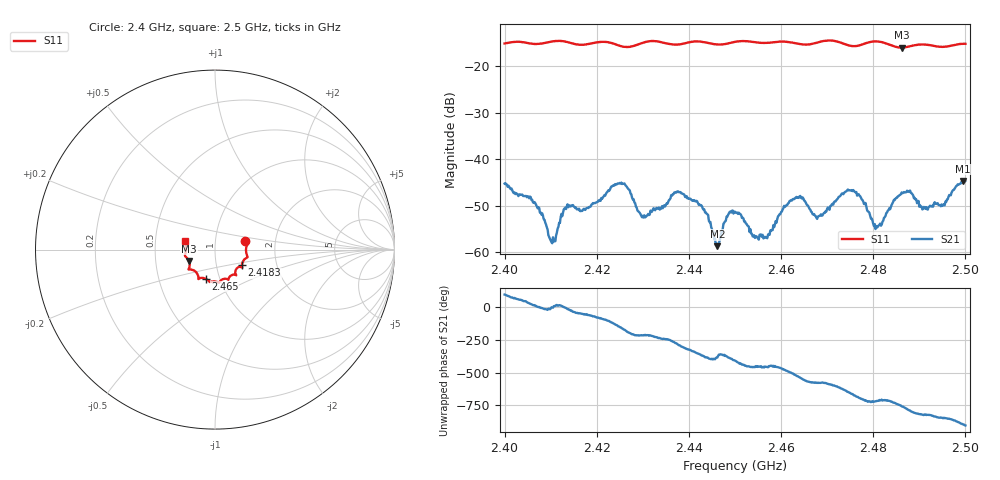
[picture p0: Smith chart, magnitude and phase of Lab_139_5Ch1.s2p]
# Hz S RI R 50
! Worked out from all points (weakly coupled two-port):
!   601 points, 2.4 GHz to 2.5 GHz, reference 50 ohm
!   highest |S21| = -44.69 dB at 2.4995 GHz (marker M1); lowest = -58.7 dB at 2.4462 GHz (marker M2)
!   lowest |S11| = -16.0 dB at 2.4862 GHz (marker M3), VSWR 1.37, Z = 37.1 - j4.81 ohm
!   |S11| at or under -10 dB: start of sweep to end of sweep
!   S12 and S22 are empty: the file has one direction only
!   S11 on the Smith chart (normalised r, x): 2.4 GHz: 1.40, +0.13; 2.4183 GHz: 1.33, -0.24; 2.465 GHz: 0.86, -0.29; 2.5 GHz: 0.71, +0.07
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2.4e9  0.1689 0.0456  -0.000344 0.00543  0 0  0 0
2.406e9  0.1736 0.00851  0.00347 0.00107  0 0  0 0
2.4105e9  0.1805 -0.0372  0.00143 -0.000149  0 0  0 0
2.413167e9  0.1778 -0.0447  0.00298 -0.000312  0 0  0 0
2.416667e9  0.1549 -0.0685  0.00171 -0.00218  0 0  0 0
2.418333e9  0.1499 -0.0869  0.00134 -0.00273  0 0  0 0
2.425e9  0.134 -0.0965  -0.00498 -0.00241  0 0  0 0
2.43e9  0.1138 -0.137  -0.00195 0.00149  0 0  0 0
2.433333e9  0.1169 -0.1415  -0.00158 0.0025  0 0  0 0
2.441333e9  0.0748 -0.1683  0.0034 0.000895  0 0  0 0
2.446167e9  0.0516 -0.1628  0.00104 -0.000499  0 0  0 0
2.45e9  0.0252 -0.1806  0.00178 -0.00205  0 0  0 0
2.456667e9  -0.00695 -0.1773  -0.000151 -0.00143  0 0  0 0
2.465e9  -0.0528 -0.162  -0.00345 0.000954  0 0  0 0
2.466667e9  -0.0713 -0.1576  -0.00219 0.00157  0 0  0 0
2.474833e9  -0.1003 -0.1325  0.0018 0.00425  0 0  0 0
2.4805e9  -0.1478 -0.1102  0.00176 6.63e-05  0 0  0 0
2.483333e9  -0.1421 -0.0959  0.00282 0.000269  0 0  0 0
2.486167e9  -0.1447 -0.0632  0.00351 -0.0026  0 0  0 0
2.495e9  -0.1608 0.00415  -0.00175 -0.0026  0 0  0 0
2.4995e9  -0.1678 0.0448  -0.00579 -0.000688  0 0  0 0
2.5e9  -0.1669 0.0473  -0.0058 0.000201  0 0  0 0
